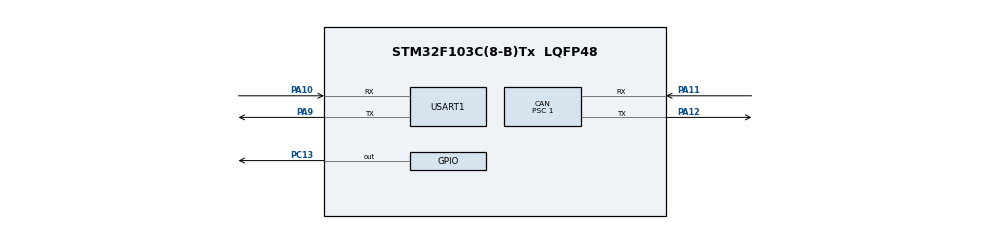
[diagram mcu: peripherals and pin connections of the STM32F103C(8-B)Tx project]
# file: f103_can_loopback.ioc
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CAN.BS1=CAN_BS1_13TQ
CAN.BS2=CAN_BS2_2TQ
CAN.CalculateBaudRate=500000
CAN.CalculateTimeBit=2000
CAN.CalculateTimeQuantum=125.0
CAN.Mode=CAN_MODE_LOOPBACK
CAN.Prescaler=1
Mcu.Family=STM32F1
Mcu.Name=STM32F103C(8-B)Tx
Mcu.Package=LQFP48
NVIC.PriorityGroup=NVIC_PRIORITYGROUP_4
NVIC.USART1_IRQn=true\:0\:0\:false\:false\:true\:true\:true\:true
PA10.Mode=Asynchronous
PA10.Signal=USART1_RX
PA11.Mode=CAN_Activate
PA11.Signal=CAN_RX
PA12.Mode=CAN_Activate
PA12.Signal=CAN_TX
PA13.Mode=Serial_Wire
PA13.Signal=SYS_JTMS-SWDIO
PA14.Mode=Serial_Wire
PA14.Signal=SYS_JTCK-SWCLK
PA9.Mode=Asynchronous
PA9.Signal=USART1_TX
PC13-TAMPER-RTC.Signal=GPIO_Output
ProjectManager.HeapSize=0x200
ProjectManager.StackSize=0x400
ProjectManager.TargetToolchain=STM32CubeIDE
RCC.APB1Freq_Value=8000000
RCC.APB2Freq_Value=8000000
USART1.VirtualMode=VM_ASYNC
board=custom

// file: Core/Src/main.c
/* USER CODE BEGIN Header */
/**
  ******************************************************************************
  * @file           : main.c
  * @brief          : Main program body
  ******************************************************************************
  * @attention
  *
  * Copyright (c) 2026 STMicroelectronics.
  * All rights reserved.
  *
  * This software is licensed under terms that can be found in the LICENSE file
  * in the root directory of this software component.
  * If no LICENSE file comes with this software, it is provided AS-IS.
  *
  ******************************************************************************
  */
/* USER CODE END Header */
#include "main.h"
#include "can.h"
#include "usart.h"
#include "gpio.h"

/* USER CODE BEGIN Includes */
#include <stdio.h>
#include <string.h>
/* USER CODE END Includes */

/* USER CODE BEGIN PM */
#define CAN_TIMEOUT_MS 100
/* USER CODE END PM */

void SystemClock_Config(void);

int main(void)
{

  /* MCU Configuration--------------------------------------------------------*/

  /* Reset of all peripherals, Initializes the Flash interface and the Systick. */
  HAL_Init();

  /* Configure the system clock */
  SystemClock_Config();

  /* Initialize all configured peripherals */
  MX_GPIO_Init();
  MX_CAN_Init();
  MX_USART1_UART_Init();
  /* USER CODE BEGIN 2 */

  //Can Filter Configuration
    //Loopback Mode Filter Configuration and Selecting Filter Bank (0-13)
    CAN_FilterTypeDef canFilterConfig;
    canFilterConfig.FilterBank = 0;
    //ID Mask Mode (for easy usages , ID list for betwwen specified intervals) and 32-bit scale configuration (for standard and extended IDs)
    canFilterConfig.FilterMode = CAN_FILTERMODE_IDMASK;
    canFilterConfig.FilterScale = CAN_FILTERSCALE_32BIT;
    //Accept All Id (ie. 0x123<<5 for IMU sensor)
    canFilterConfig.FilterIdHigh = 0x0000;
    canFilterConfig.FilterIdLow= 0x0000;
    canFilterConfig.FilterMaskIdHigh = 0x0000;
    canFilterConfig.FilterMaskIdLow = 0x0000;
    //Convention, one FIFO is enough for loopback mode, so we can use FIFO0
    canFilterConfig.FilterFIFOAssignment = CAN_FILTER_FIFO0;
    //Must to ENABLE Filter Activation, otherwise the filter will not work
    canFilterConfig.FilterActivation = ENABLE;
    //Have to configure for Dual CAN board. STM32F103 has only one, but have to filled because of the structure.
    //So, we can use 14 for SlaveStartFilterBank (0-13 for Master, 14-27 for Slave)
    canFilterConfig.SlaveStartFilterBank = 14;
    //Error Handling (HAL_OK = 0, HAL_ERROR = 1, HAL_BUSY = 2, HAL_TIMEOUT = 3), important for debugging
    if (HAL_CAN_ConfigFilter(&hcan, &canFilterConfig) != HAL_OK)
    {
      Error_Handler();
    }
    //Start CAN Peripheral
    if(HAL_CAN_Start(&hcan)!=HAL_OK)
    {
      Error_Handler();
    }

    //Message Envelope Tx Configuration
    CAN_TxHeaderTypeDef TxHeader ={0};
    uint32_t TxMailbox;
    //We can send 8 bytes of data
    uint8_t TxData[8];
    //Standard ID (11 bits) for the message, 0x123 is a common ID for testing
    TxHeader.StdId = 0x123;
    //Extended ID (29 bits) is not used, so we can set it to 0
    TxHeader.ExtId = 0x00;
    //Standard ID is used, so we can set the IDE to CAN_ID_STD
    TxHeader.IDE = CAN_ID_STD;
    //Data Frame is used, so we can set the RTR to CAN_RTR_DATA
    TxHeader.RTR = CAN_RTR_DATA;
    //Selecting Bytes (Data Length Code), we send 8 bytes of data so we can set the DLC to 8
    TxHeader.DLC = 8;
    //Disable the Transmit Global Time, we don't need it for this example
    TxHeader.TransmitGlobalTime = DISABLE;
    //Data to be sent, we can fill the TxData array with some values
    TxData[0]=1;
    TxData[1]=2;
    TxData[2]=3;
    TxData[3]=4;
    TxData[4]=5;
    TxData[5]=6;
    TxData[6]=7;
    TxData[7]=8;

    //Message Envelope Rx Configuration
    CAN_RxHeaderTypeDef RxHeader ={0};
    //Received Bytes
    uint8_t RxData[8];

    //Create Tick Variable for Timeout Detection
    uint32_t tick = HAL_GetTick();
    //Create Message Variable for UART Message
    char msg[64];
  /* USER CODE END 2 */

  /* Infinite loop */
  /* USER CODE BEGIN WHILE */
  while (1)
  {

	   //Check how many mailboxes are free (returns 0-3), Use to tick for detecting timeout
	   tick= HAL_GetTick();
	   while(HAL_CAN_GetTxMailboxesFreeLevel(&hcan)==0)
	   {
	     if(HAL_GetTick()-tick>CAN_TIMEOUT_MS)
	     {
	       Error_Handler();
	     }
	   }
	   //Send the message
	   if (HAL_CAN_AddTxMessage(&hcan, &TxHeader, TxData, &TxMailbox) != HAL_OK)
	   {
	     Error_Handler();
	   }
	 //Check if the message is still pending in the mailbox
	   while(HAL_CAN_IsTxMessagePending(&hcan, TxMailbox));
	   //Wait until a message is received, Use to tick for detecting timeout
	   tick = HAL_GetTick();
	   while(HAL_CAN_GetRxFifoFillLevel(&hcan, CAN_RX_FIFO0)==0)
	   {
	     if(HAL_GetTick()-tick>CAN_TIMEOUT_MS)
	     {
	       Error_Handler();
	     }
	   }
	   //Read the frame
	   if(HAL_CAN_GetRxMessage(&hcan, CAN_RX_FIFO0, &RxHeader, RxData)!=HAL_OK)
	   {
	     Error_Handler();
	   }
	   //Transmit the received data over UART for debugging purposes
	   snprintf(msg, sizeof(msg),"Received Data: %d %d %d %d %d %d %d %d\r\n",
	    RxData[0], RxData[1], RxData[2], RxData[3], RxData[4], RxData[5], RxData[6], RxData[7]);
	   HAL_UART_Transmit(&huart1, (uint8_t*)msg, strlen(msg), HAL_MAX_DELAY);
	   //Wait 2 seconds for system operability
	   HAL_Delay(2000);
	   //Increase data value
	   TxData[0]++;

	   //Detect If UART is Working
	   //HAL_Delay(1000);
	   //char msg_2[] = "UART OK\r\n";
	   //HAL_UART_Transmit(&huart1, (uint8_t *)msg_2, strlen(msg_2), HAL_MAX_DELAY);

	   // Detect IF Led Is Working
	   //HAL_GPIO_TogglePin(GPIOC, GPIO_PIN_13);
	   //HAL_Delay(2000);
    /* USER CODE END WHILE */

  }
}

void SystemClock_Config(void)
{
  RCC_OscInitTypeDef RCC_OscInitStruct = {0};
  RCC_ClkInitTypeDef RCC_ClkInitStruct = {0};

  /** Initializes the RCC Oscillators according to the specified parameters
  * in the RCC_OscInitTypeDef structure.
  */
  RCC_OscInitStruct.OscillatorType = RCC_OSCILLATORTYPE_HSI;
  RCC_OscInitStruct.HSIState = RCC_HSI_ON;
  RCC_OscInitStruct.HSICalibrationValue = RCC_HSICALIBRATION_DEFAULT;
  RCC_OscInitStruct.PLL.PLLState = RCC_PLL_NONE;
  if (HAL_RCC_OscConfig(&RCC_OscInitStruct) != HAL_OK)
  {
    Error_Handler();
  }

  /** Initializes the CPU, AHB and APB buses clocks
  */
  RCC_ClkInitStruct.ClockType = RCC_CLOCKTYPE_HCLK|RCC_CLOCKTYPE_SYSCLK
                              |RCC_CLOCKTYPE_PCLK1|RCC_CLOCKTYPE_PCLK2;
  RCC_ClkInitStruct.SYSCLKSource = RCC_SYSCLKSOURCE_HSI;
  RCC_ClkInitStruct.AHBCLKDivider = RCC_SYSCLK_DIV1;
  RCC_ClkInitStruct.APB1CLKDivider = RCC_HCLK_DIV1;
  RCC_ClkInitStruct.APB2CLKDivider = RCC_HCLK_DIV1;

  if (HAL_RCC_ClockConfig(&RCC_ClkInitStruct, FLASH_LATENCY_0) != HAL_OK)
  {
    Error_Handler();
  }
}

void Error_Handler(void)
{
  __disable_irq();
  while (1)
  {
  }
}
